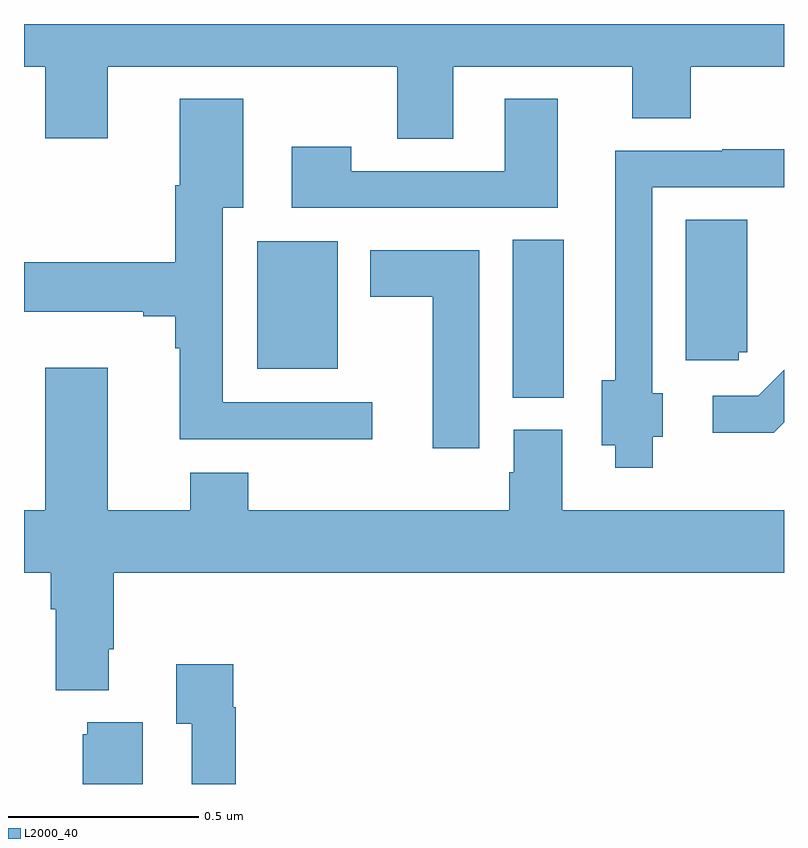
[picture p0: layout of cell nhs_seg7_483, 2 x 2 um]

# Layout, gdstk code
import gdstk
lib = gdstk.Library(unit=1e-6, precision=1e-09)
def R(c, l, rs):  # rectangles x0, y0, x1, y1
    for r in rs: c.add(gdstk.rectangle(r[:2], r[2:], *l))
def P(c, l, *ps):  # polygons
    for p in ps: c.add(gdstk.Polygon(p, *l))
L2000_40 = (2000, 40)

nhs_seg7_483 = lib.new_cell('nhs_seg7_483')
R(nhs_seg7_483, L2000_40, [(118.286,1061.017,118.42,1061.432), (117.614,1061.093,117.826,1061.428)])
P(nhs_seg7_483, L2000_40, [(118.129,1061.888),(118.601,1061.888),(118.601,1061.752),(118.754,1061.752),(118.754,1061.888),(119,1061.888),(119,1062),(117,1062),(117,1061.888),(117.056,1061.888),(117.056,1061.7),(117.22,1061.7),(117.22,1061.888),(117.982,1061.888),(117.982,1061.698),(118.129,1061.698)],
  [(117.916,1061.004),(117.523,1061.004),(117.523,1061.516),(117.577,1061.516),(117.577,1061.803),(117.41,1061.803),(117.41,1061.576),(117.398,1061.576),(117.398,1061.373),(117,1061.373),(117,1061.243),(117.314,1061.243),(117.314,1061.231),(117.398,1061.231),(117.398,1061.147),(117.41,1061.147),(117.41,1060.907),(117.916,1060.907)],
  [(118.405,1061.803),(118.265,1061.803),(118.265,1061.613),(117.861,1061.613),(117.861,1061.677),(117.705,1061.677),(117.705,1061.517),(118.405,1061.517)],
  [(118.654,1060.914),(118.681,1060.914),(118.681,1061.028),(118.653,1061.028),(118.653,1061.571),(119,1061.571),(119,1061.67),(118.837,1061.67),(118.837,1061.667),(118.556,1061.667),(118.556,1061.063),(118.52,1061.063),(118.52,1060.892),(118.556,1060.892),(118.556,1060.832),(118.654,1060.832)],
  [(118.881,1061.136),(118.903,1061.136),(118.903,1061.485),(118.742,1061.485),(118.742,1061.115),(118.881,1061.115)],
  [(118.198,1061.404),(117.911,1061.404),(117.911,1061.282),(118.076,1061.282),(118.076,1060.884),(118.198,1060.884)],
  [(117.223,1060.354),(117.236,1060.354),(117.236,1060.556),(119,1060.556),(119,1060.72),(118.417,1060.72),(118.417,1060.932),(118.289,1060.932),(118.289,1060.821),(118.277,1060.821),(118.277,1060.72),(117.59,1060.72),(117.59,1060.819),(117.437,1060.819),(117.437,1060.72),(117.22,1060.72),(117.22,1061.095),(117.056,1061.095),(117.056,1060.72),(117,1060.72),(117,1060.556),(117.071,1060.556),(117.071,1060.46),(117.083,1060.46),(117.083,1060.247),(117.223,1060.247)],
  [(119,1060.952),(119,1061.09),(118.932,1061.022),(118.812,1061.022),(118.812,1060.925),(118.973,1060.925)],
  [(117.557,1060.202),(117.55,1060.202),(117.55,1060.315),(117.401,1060.315),(117.401,1060.159),(117.441,1060.159),(117.441,1060),(117.557,1060)],
  [(117.313,1060.162),(117.167,1060.162),(117.167,1060.131),(117.155,1060.131),(117.155,1060),(117.313,1060)])

lib.write_gds('nhs_seg7_483.gds')
